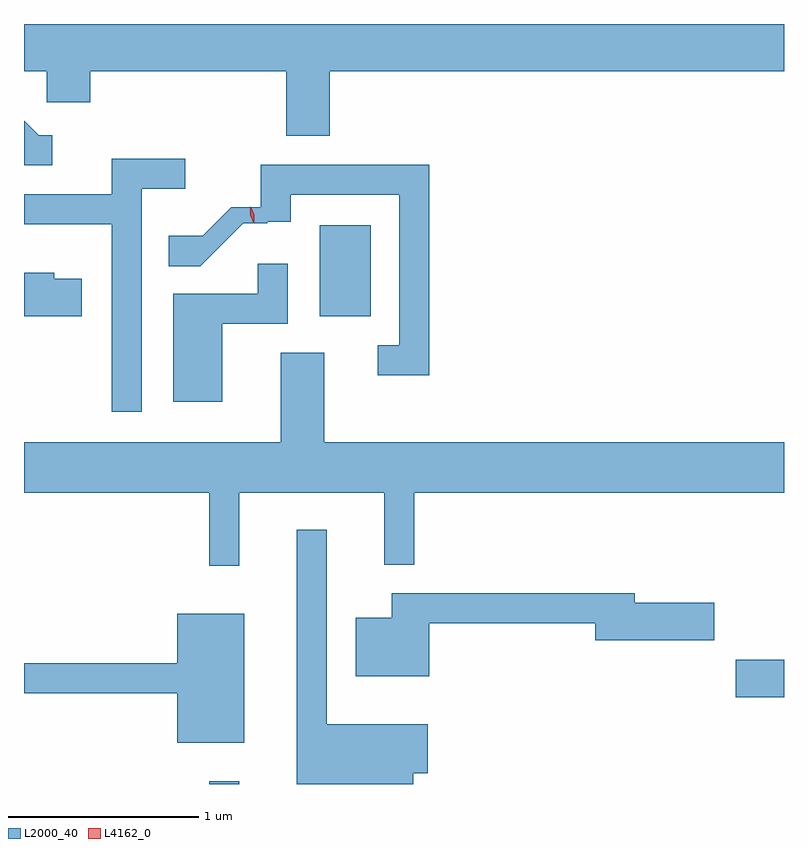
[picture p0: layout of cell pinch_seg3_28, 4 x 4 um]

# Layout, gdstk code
import gdstk
lib = gdstk.Library(unit=1e-6, precision=1e-09)
def R(c, l, rs):  # rectangles x0, y0, x1, y1
    for r in rs: c.add(gdstk.rectangle(r[:2], r[2:], *l))
def P(c, l, *ps):  # polygons
    for p in ps: c.add(gdstk.Polygon(p, *l))
L2000_40 = (2000, 40)
L4162_0 = (4162, 0)

pinch_seg3_28 = lib.new_cell('pinch_seg3_28')
R(pinch_seg3_28, L2000_40, [(1874.906,1217.724,1875.064,1217.738), (1877.676,1218.181,1877.93,1218.379), (1875.486,1220.186,1875.754,1220.664)])
P(pinch_seg3_28, L2000_40, [(1875.539,1221.476),(1877.93,1221.476),(1877.93,1221.724),(1873.93,1221.724),(1873.93,1221.476),(1874.051,1221.476),(1874.051,1221.311),(1874.279,1221.311),(1874.279,1221.476),(1875.311,1221.476),(1875.311,1221.136),(1875.539,1221.136)],
  [(1874.078,1221.139),(1874.007,1221.139),(1873.93,1221.216),(1873.93,1220.981),(1874.078,1220.981)],
  [(1874.549,1220.856),(1874.778,1220.856),(1874.778,1221.014),(1874.391,1221.014),(1874.391,1220.829),(1873.93,1220.829),(1873.93,1220.671),(1874.391,1220.671),(1874.391,1219.683),(1874.549,1219.683)],
  [(1876.064,1220.984),(1875.176,1220.984),(1875.176,1220.76),(1875.02,1220.76),(1874.87,1220.61),(1874.693,1220.61),(1874.693,1220.448),(1874.857,1220.448),(1875.085,1220.676),(1875.209,1220.676),(1875.209,1220.684),(1875.334,1220.684),(1875.334,1220.826),(1875.906,1220.826),(1875.906,1220.034),(1875.793,1220.034),(1875.793,1219.876),(1876.064,1219.876)],
  [(1874.974,1220.146),(1875.319,1220.146),(1875.319,1220.463),(1875.161,1220.463),(1875.161,1220.304),(1874.716,1220.304),(1874.716,1219.736),(1874.974,1219.736)],
  [(1874.234,1220.384),(1874.089,1220.384),(1874.089,1220.414),(1873.93,1220.414),(1873.93,1220.186),(1874.234,1220.186)],
  [(1875.064,1219.256),(1875.826,1219.256),(1875.826,1218.878),(1875.984,1218.878),(1875.984,1219.256),(1877.93,1219.256),(1877.93,1219.524),(1875.509,1219.524),(1875.509,1219.994),(1875.281,1219.994),(1875.281,1219.524),(1873.93,1219.524),(1873.93,1219.256),(1874.906,1219.256),(1874.906,1218.873),(1875.064,1218.873)],
  [(1875.979,1217.781),(1876.054,1217.781),(1876.054,1218.039),(1875.524,1218.039),(1875.524,1219.063),(1875.366,1219.063),(1875.366,1217.724),(1875.979,1217.724)],
  [(1876.064,1218.571),(1876.936,1218.571),(1876.936,1218.481),(1877.564,1218.481),(1877.564,1218.679),(1877.144,1218.679),(1877.144,1218.729),(1875.866,1218.729),(1875.866,1218.599),(1875.676,1218.599),(1875.676,1218.291),(1876.064,1218.291)],
  [(1875.089,1218.619),(1874.736,1218.619),(1874.736,1218.359),(1873.93,1218.359),(1873.93,1218.201),(1874.736,1218.201),(1874.736,1217.941),(1875.089,1217.941)])
P(pinch_seg3_28, L4162_0, [(1875.138,1220.676),(1875.12,1220.717),(1875.12,1220.761),(1875.121,1220.762),(1875.121,1220.761),(1875.14,1220.721),(1875.139,1220.676),(1875.139,1220.676)],
  [(1875.14,1220.682),(1875.14,1220.682),(1875.124,1220.718),(1875.126,1220.756),(1875.126,1220.757),(1875.127,1220.756),(1875.143,1220.721),(1875.141,1220.682)])

lib.write_gds('pinch_seg3_28.gds')
